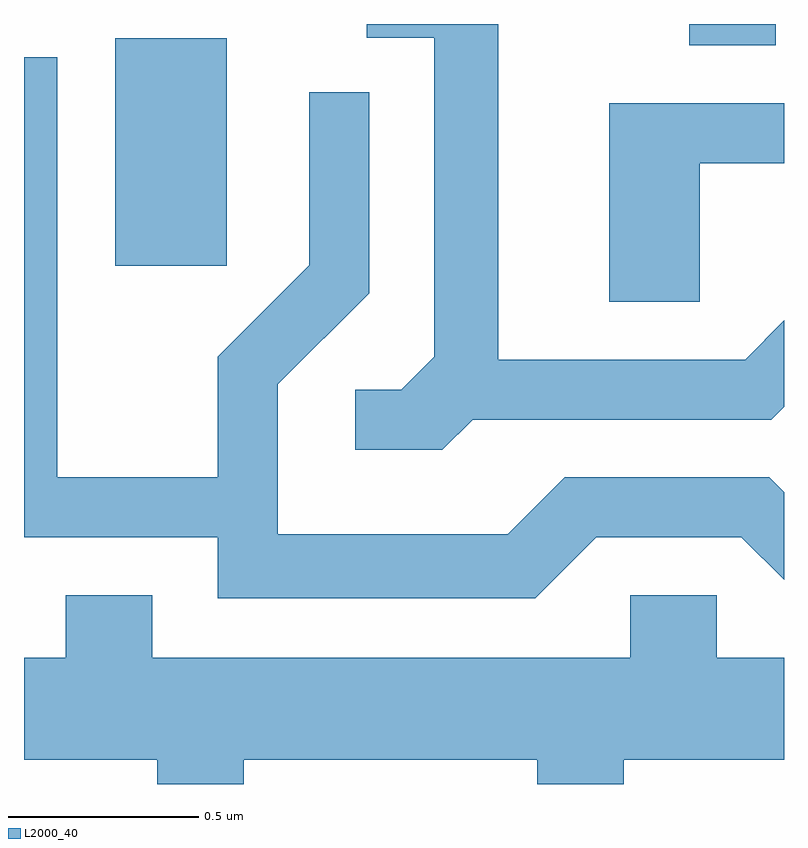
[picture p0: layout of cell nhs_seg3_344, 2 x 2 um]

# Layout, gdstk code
import gdstk
lib = gdstk.Library(unit=1e-6, precision=1e-09)
def R(c, l, rs):  # rectangles x0, y0, x1, y1
    for r in rs: c.add(gdstk.rectangle(r[:2], r[2:], *l))
def P(c, l, *ps):  # polygons
    for p in ps: c.add(gdstk.Polygon(p, *l))
L2000_40 = (2000, 40)

nhs_seg3_344 = lib.new_cell('nhs_seg3_344')
R(nhs_seg3_344, L2000_40, [(187.851,1187.256,188.144,1187.854), (189.361,1187.836,189.589,1187.892)])
P(nhs_seg3_344, L2000_40, [(188.792,1186.851),(189.577,1186.851),(189.611,1186.885),(189.611,1187.112),(189.509,1187.009),(188.859,1187.009),(188.859,1187.892),(188.513,1187.892),(188.513,1187.856),(188.691,1187.856),(188.691,1187.017),(188.604,1186.929),(188.483,1186.929),(188.483,1186.771),(188.712,1186.771)],
  [(189.117,1186.541),(189.499,1186.541),(189.611,1186.429),(189.611,1186.66),(189.572,1186.699),(189.034,1186.699),(188.884,1186.549),(188.279,1186.549),(188.279,1186.944),(188.519,1187.184),(188.519,1187.713),(188.361,1187.713),(188.361,1187.257),(188.121,1187.017),(188.121,1186.699),(187.699,1186.699),(187.699,1187.804),(187.611,1187.804),(187.611,1186.541),(188.121,1186.541),(188.121,1186.381),(188.957,1186.381)],
  [(189.389,1187.526),(189.611,1187.526),(189.611,1187.684),(189.151,1187.684),(189.151,1187.161),(189.389,1187.161)],
  [(188.189,1185.956),(188.961,1185.956),(188.961,1185.892),(189.189,1185.892),(189.189,1185.956),(189.611,1185.956),(189.611,1186.224),(189.434,1186.224),(189.434,1186.389),(189.206,1186.389),(189.206,1186.224),(187.949,1186.224),(187.949,1186.389),(187.721,1186.389),(187.721,1186.224),(187.611,1186.224),(187.611,1185.956),(187.961,1185.956),(187.961,1185.892),(188.189,1185.892)])

lib.write_gds('nhs_seg3_344.gds')
